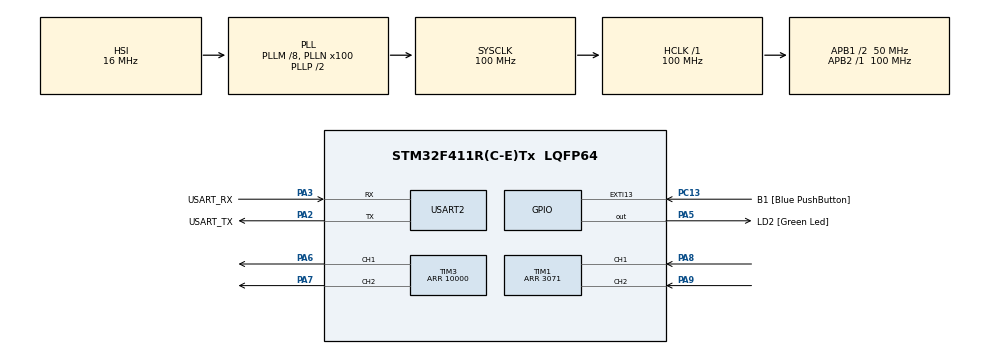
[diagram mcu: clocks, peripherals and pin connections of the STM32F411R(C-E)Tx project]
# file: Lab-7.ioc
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Mcu.Family=STM32F4
Mcu.Name=STM32F411R(C-E)Tx
Mcu.Package=LQFP64
NVIC.PriorityGroup=NVIC_PRIORITYGROUP_0
PA13.GPIO_Label=TMS
PA13.Mode=Serial_Wire
PA13.Signal=SYS_JTMS-SWDIO
PA14.GPIO_Label=TCK
PA14.Mode=Serial_Wire
PA14.Signal=SYS_JTCK-SWCLK
PA2.GPIO_Label=USART_TX
PA2.Mode=Asynchronous
PA2.Signal=USART2_TX
PA3.GPIO_Label=USART_RX
PA3.Mode=Asynchronous
PA3.Signal=USART2_RX
PA5.GPIO_Label=LD2 [Green Led]
PA5.Signal=GPIO_Output
PA6.Signal=S_TIM3_CH1
PA7.Signal=S_TIM3_CH2
PA8.Signal=S_TIM1_CH1
PA9.Signal=S_TIM1_CH2
PB3.GPIO_Label=SWO
PB3.Signal=SYS_JTDO-SWO
PC13-ANTI_TAMP.GPIO_Label=B1 [Blue PushButton]
PC13-ANTI_TAMP.GPIO_ModeDefaultEXTI=GPIO_MODE_IT_FALLING
PC13-ANTI_TAMP.Signal=GPXTI13
PC14-OSC32_IN.Mode=LSE-External-Oscillator
PC14-OSC32_IN.Signal=RCC_OSC32_IN
PC15-OSC32_OUT.Mode=LSE-External-Oscillator
PC15-OSC32_OUT.Signal=RCC_OSC32_OUT
PH0\ -\ OSC_IN.Mode=HSE-External-Clock-Source
PH0\ -\ OSC_IN.Signal=RCC_OSC_IN
PH1\ -\ OSC_OUT.Mode=HSE-External-Clock-Source
PH1\ -\ OSC_OUT.Signal=RCC_OSC_OUT
ProjectManager.HeapSize=0x200
ProjectManager.StackSize=0x400
ProjectManager.TargetToolchain=STM32CubeIDE
RCC.48MHZClocksFreq_Value=50000000
RCC.AHBFreq_Value=100000000
RCC.APB1CLKDivider=RCC_HCLK_DIV2
RCC.APB1Freq_Value=50000000
RCC.APB1TimFreq_Value=100000000
RCC.APB2Freq_Value=100000000
RCC.APB2TimFreq_Value=100000000
RCC.CortexFreq_Value=100000000
RCC.FLatency-AdvancedSettings=FLASH_LATENCY_3
RCC.HCLKFreq_Value=100000000
RCC.HSE_VALUE=8000000
RCC.HSI_VALUE=16000000
RCC.PLLM=8
RCC.PLLN=100
RCC.SYSCLKFreq_VALUE=100000000
RCC.SYSCLKSource=RCC_SYSCLKSOURCE_PLLCLK
RCC.VCOOutputFreq_Value=200000000
SH.S_TIM1_CH1.0=TIM1_CH1,Encoder_Interface
SH.S_TIM1_CH2.0=TIM1_CH2,Encoder_Interface
SH.S_TIM3_CH1.0=TIM3_CH1,PWM Generation1 CH1
SH.S_TIM3_CH2.0=TIM3_CH2,PWM Generation2 CH2
TIM1.EncoderMode=TIM_ENCODERMODE_TI12
TIM1.Period=3071
TIM2.Prescaler=99
TIM3.Channel-PWM\ Generation1\ CH1=TIM_CHANNEL_1
TIM3.Channel-PWM\ Generation2\ CH2=TIM_CHANNEL_2
TIM3.Period=10000
USART2.VirtualMode=VM_ASYNC
VP_TIM2_VS_ClockSourceINT.Mode=Internal
VP_TIM3_VS_ClockSourceINT.Mode=Internal
board=NUCLEO-F411RE

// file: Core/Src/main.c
/* USER CODE BEGIN Header */
/**
 ******************************************************************************
 * @file           : main.c
 * @brief          : Main program body
 ******************************************************************************
 * @attention
 *
 * <h2><center>&copy; Copyright (c) 2021 STMicroelectronics.
 * All rights reserved.</center></h2>
 *
 * This software component is licensed by ST under BSD 3-Clause license,
 * the "License"; You may not use this file except in compliance with the
 * License. You may obtain a copy of the License at:
 *                        opensource.org/licenses/BSD-3-Clause
 *
 ******************************************************************************
 */
/* USER CODE END Header */
#include "main.h"

TIM_HandleTypeDef htim1;
TIM_HandleTypeDef htim2;
TIM_HandleTypeDef htim3;

UART_HandleTypeDef huart2;

/* USER CODE BEGIN PV */
uint64_t _micros 	= 0;
int   PWMOut 		= 0;
float EncoderVel 		= 0;
float Velocity_Motor 	= 0;
float Velocity_Desired 	= 0;
float Velocity_Error  	= 0;
float Velocity_Error_Previous  	= 0;
float Velocity_Error_Sum  		= 0;

uint64_t Timestamp_Encoder = 0;

float K_P	= 0;
float K_I	= 0;
float K_D   = 0;

/* USER CODE END PV */

void SystemClock_Config(void);
static void MX_GPIO_Init(void);
static void MX_USART2_UART_Init(void);
static void MX_TIM1_Init(void);
static void MX_TIM2_Init(void);
static void MX_TIM3_Init(void);
/* USER CODE BEGIN PFP */
uint64_t micros();
float EncoderVelocity_Update();
void PID_Control();
void MotorDrive();

/* USER CODE END PFP */

int main(void)
{

  /* MCU Configuration--------------------------------------------------------*/

  /* Reset of all peripherals, Initializes the Flash interface and the Systick. */
  HAL_Init();

  /* Configure the system clock */
  SystemClock_Config();

  /* Initialize all configured peripherals */
  MX_GPIO_Init();
  MX_USART2_UART_Init();
  MX_TIM1_Init();
  MX_TIM2_Init();
  MX_TIM3_Init();
  /* USER CODE BEGIN 2 */
	HAL_TIM_Base_Start_IT(&htim2);
	HAL_TIM_Encoder_Start(&htim1, TIM_CHANNEL_ALL);
	HAL_TIM_Base_Start(&htim3);
	HAL_TIM_PWM_Start(&htim3, TIM_CHANNEL_1);
	HAL_TIM_PWM_Start(&htim3, TIM_CHANNEL_2);

  /* USER CODE END 2 */

  /* Infinite loop */
	while (1)
	{

    /* USER CODE BEGIN 3 */
		if (micros() - Timestamp_Encoder >= 1000) //1000us = 0.001s = 1kHz
		{
			Timestamp_Encoder = micros();
			EncoderVel = (EncoderVel * 99 + EncoderVelocity_Update()) / 100.0;  //Add LPF? (Low Pass Filter)

			Velocity_Motor = EncoderVel * 60 / 3072.0; //  pulse/s -> RPM   (1/4 * 1/12 * 1/64)

			PID_Control();
			MotorDrive();
		}

	}
  /* USER CODE END 3 */
}

void SystemClock_Config(void)
{
  RCC_OscInitTypeDef RCC_OscInitStruct = {0};
  RCC_ClkInitTypeDef RCC_ClkInitStruct = {0};

  /** Configure the main internal regulator output voltage
  */
  __HAL_RCC_PWR_CLK_ENABLE();
  __HAL_PWR_VOLTAGESCALING_CONFIG(PWR_REGULATOR_VOLTAGE_SCALE1);
  /** Initializes the RCC Oscillators according to the specified parameters
  * in the RCC_OscInitTypeDef structure.
  */
  RCC_OscInitStruct.OscillatorType = RCC_OSCILLATORTYPE_HSI;
  RCC_OscInitStruct.HSIState = RCC_HSI_ON;
  RCC_OscInitStruct.HSICalibrationValue = RCC_HSICALIBRATION_DEFAULT;
  RCC_OscInitStruct.PLL.PLLState = RCC_PLL_ON;
  RCC_OscInitStruct.PLL.PLLSource = RCC_PLLSOURCE_HSI;
  RCC_OscInitStruct.PLL.PLLM = 8;
  RCC_OscInitStruct.PLL.PLLN = 100;
  RCC_OscInitStruct.PLL.PLLP = RCC_PLLP_DIV2;
  RCC_OscInitStruct.PLL.PLLQ = 4;
  if (HAL_RCC_OscConfig(&RCC_OscInitStruct) != HAL_OK)
  {
    Error_Handler();
  }
  /** Initializes the CPU, AHB and APB buses clocks
  */
  RCC_ClkInitStruct.ClockType = RCC_CLOCKTYPE_HCLK|RCC_CLOCKTYPE_SYSCLK
                              |RCC_CLOCKTYPE_PCLK1|RCC_CLOCKTYPE_PCLK2;
  RCC_ClkInitStruct.SYSCLKSource = RCC_SYSCLKSOURCE_PLLCLK;
  RCC_ClkInitStruct.AHBCLKDivider = RCC_SYSCLK_DIV1;
  RCC_ClkInitStruct.APB1CLKDivider = RCC_HCLK_DIV2;
  RCC_ClkInitStruct.APB2CLKDivider = RCC_HCLK_DIV1;

  if (HAL_RCC_ClockConfig(&RCC_ClkInitStruct, FLASH_LATENCY_3) != HAL_OK)
  {
    Error_Handler();
  }
}

static void MX_TIM1_Init(void)
{

  TIM_Encoder_InitTypeDef sConfig = {0};
  TIM_MasterConfigTypeDef sMasterConfig = {0};

  htim1.Instance = TIM1;
  htim1.Init.Prescaler = 0;
  htim1.Init.CounterMode = TIM_COUNTERMODE_UP;
  htim1.Init.Period = 3071;
  htim1.Init.ClockDivision = TIM_CLOCKDIVISION_DIV1;
  htim1.Init.RepetitionCounter = 0;
  htim1.Init.AutoReloadPreload = TIM_AUTORELOAD_PRELOAD_DISABLE;
  sConfig.EncoderMode = TIM_ENCODERMODE_TI12;
  sConfig.IC1Polarity = TIM_ICPOLARITY_RISING;
  sConfig.IC1Selection = TIM_ICSELECTION_DIRECTTI;
  sConfig.IC1Prescaler = TIM_ICPSC_DIV1;
  sConfig.IC1Filter = 0;
  sConfig.IC2Polarity = TIM_ICPOLARITY_RISING;
  sConfig.IC2Selection = TIM_ICSELECTION_DIRECTTI;
  sConfig.IC2Prescaler = TIM_ICPSC_DIV1;
  sConfig.IC2Filter = 0;
  if (HAL_TIM_Encoder_Init(&htim1, &sConfig) != HAL_OK)
  {
    Error_Handler();
  }
  sMasterConfig.MasterOutputTrigger = TIM_TRGO_RESET;
  sMasterConfig.MasterSlaveMode = TIM_MASTERSLAVEMODE_DISABLE;
  if (HAL_TIMEx_MasterConfigSynchronization(&htim1, &sMasterConfig) != HAL_OK)
  {
    Error_Handler();
  }

}

static void MX_TIM2_Init(void)
{

  TIM_ClockConfigTypeDef sClockSourceConfig = {0};
  TIM_MasterConfigTypeDef sMasterConfig = {0};

  htim2.Instance = TIM2;
  htim2.Init.Prescaler = 99;
  htim2.Init.CounterMode = TIM_COUNTERMODE_UP;
  htim2.Init.Period = 4294967295;
  htim2.Init.ClockDivision = TIM_CLOCKDIVISION_DIV1;
  htim2.Init.AutoReloadPreload = TIM_AUTORELOAD_PRELOAD_DISABLE;
  if (HAL_TIM_Base_Init(&htim2) != HAL_OK)
  {
    Error_Handler();
  }
  sClockSourceConfig.ClockSource = TIM_CLOCKSOURCE_INTERNAL;
  if (HAL_TIM_ConfigClockSource(&htim2, &sClockSourceConfig) != HAL_OK)
  {
    Error_Handler();
  }
  sMasterConfig.MasterOutputTrigger = TIM_TRGO_RESET;
  sMasterConfig.MasterSlaveMode = TIM_MASTERSLAVEMODE_DISABLE;
  if (HAL_TIMEx_MasterConfigSynchronization(&htim2, &sMasterConfig) != HAL_OK)
  {
    Error_Handler();
  }

}

static void MX_TIM3_Init(void)
{

  TIM_ClockConfigTypeDef sClockSourceConfig = {0};
  TIM_MasterConfigTypeDef sMasterConfig = {0};
  TIM_OC_InitTypeDef sConfigOC = {0};

  htim3.Instance = TIM3;
  htim3.Init.Prescaler = 0;
  htim3.Init.CounterMode = TIM_COUNTERMODE_UP;
  htim3.Init.Period = 10000;
  htim3.Init.ClockDivision = TIM_CLOCKDIVISION_DIV1;
  htim3.Init.AutoReloadPreload = TIM_AUTORELOAD_PRELOAD_DISABLE;
  if (HAL_TIM_Base_Init(&htim3) != HAL_OK)
  {
    Error_Handler();
  }
  sClockSourceConfig.ClockSource = TIM_CLOCKSOURCE_INTERNAL;
  if (HAL_TIM_ConfigClockSource(&htim3, &sClockSourceConfig) != HAL_OK)
  {
    Error_Handler();
  }
  if (HAL_TIM_PWM_Init(&htim3) != HAL_OK)
  {
    Error_Handler();
  }
  sMasterConfig.MasterOutputTrigger = TIM_TRGO_RESET;
  sMasterConfig.MasterSlaveMode = TIM_MASTERSLAVEMODE_DISABLE;
  if (HAL_TIMEx_MasterConfigSynchronization(&htim3, &sMasterConfig) != HAL_OK)
  {
    Error_Handler();
  }
  sConfigOC.OCMode = TIM_OCMODE_PWM1;
  sConfigOC.Pulse = 0;
  sConfigOC.OCPolarity = TIM_OCPOLARITY_HIGH;
  sConfigOC.OCFastMode = TIM_OCFAST_DISABLE;
  if (HAL_TIM_PWM_ConfigChannel(&htim3, &sConfigOC, TIM_CHANNEL_1) != HAL_OK)
  {
    Error_Handler();
  }
  if (HAL_TIM_PWM_ConfigChannel(&htim3, &sConfigOC, TIM_CHANNEL_2) != HAL_OK)
  {
    Error_Handler();
  }
  HAL_TIM_MspPostInit(&htim3);

}

static void MX_USART2_UART_Init(void)
{

  huart2.Instance = USART2;
  huart2.Init.BaudRate = 115200;
  huart2.Init.WordLength = UART_WORDLENGTH_8B;
  huart2.Init.StopBits = UART_STOPBITS_1;
  huart2.Init.Parity = UART_PARITY_NONE;
  huart2.Init.Mode = UART_MODE_TX_RX;
  huart2.Init.HwFlowCtl = UART_HWCONTROL_NONE;
  huart2.Init.OverSampling = UART_OVERSAMPLING_16;
  if (HAL_UART_Init(&huart2) != HAL_OK)
  {
    Error_Handler();
  }

}

static void MX_GPIO_Init(void)
{
  GPIO_InitTypeDef GPIO_InitStruct = {0};

  /* GPIO Ports Clock Enable */
  __HAL_RCC_GPIOC_CLK_ENABLE();
  __HAL_RCC_GPIOH_CLK_ENABLE();
  __HAL_RCC_GPIOA_CLK_ENABLE();
  __HAL_RCC_GPIOB_CLK_ENABLE();

  /*Configure GPIO pin Output Level */
  HAL_GPIO_WritePin(LD2_GPIO_Port, LD2_Pin, GPIO_PIN_RESET);

  /*Configure GPIO pin : B1_Pin */
  GPIO_InitStruct.Pin = B1_Pin;
  GPIO_InitStruct.Mode = GPIO_MODE_IT_FALLING;
  GPIO_InitStruct.Pull = GPIO_NOPULL;
  HAL_GPIO_Init(B1_GPIO_Port, &GPIO_InitStruct);

  /*Configure GPIO pin : LD2_Pin */
  GPIO_InitStruct.Pin = LD2_Pin;
  GPIO_InitStruct.Mode = GPIO_MODE_OUTPUT_PP;
  GPIO_InitStruct.Pull = GPIO_NOPULL;
  GPIO_InitStruct.Speed = GPIO_SPEED_FREQ_LOW;
  HAL_GPIO_Init(LD2_GPIO_Port, &GPIO_InitStruct);

}

/* USER CODE BEGIN 4 */
#define  HTIM_ENCODER htim1
#define  MAX_SUBPOSITION_OVERFLOW 1536
#define  MAX_ENCODER_PERIOD 3072

float EncoderVelocity_Update()
{
	//Save Last state
	static uint32_t EncoderLastPosition = 0;
	static uint64_t EncoderLastTimestamp = 0;

	//read data
	uint32_t EncoderNowPosition = HTIM_ENCODER.Instance->CNT;
	uint64_t EncoderNowTimestamp = micros();

	int32_t EncoderPositionDiff;
	uint64_t EncoderTimeDiff;

	EncoderTimeDiff = EncoderNowTimestamp - EncoderLastTimestamp;   //dt
	EncoderPositionDiff = EncoderNowPosition - EncoderLastPosition; //dp

	//compensate overflow and underflow
	if (EncoderPositionDiff >= MAX_SUBPOSITION_OVERFLOW)
	{
		EncoderPositionDiff -= MAX_ENCODER_PERIOD;
	}
	else if (-EncoderPositionDiff >= MAX_SUBPOSITION_OVERFLOW)
	{
		EncoderPositionDiff += MAX_ENCODER_PERIOD;
	}

	//Update Position and time
	EncoderLastPosition = EncoderNowPosition;
	EncoderLastTimestamp = EncoderNowTimestamp;

	//Calculate velocity
	//EncoderTimeDiff is in uS
	return (EncoderPositionDiff * 1000000) / (float) EncoderTimeDiff;

}

void HAL_TIM_PeriodElapsedCallback(TIM_HandleTypeDef *htim)
{
	if (htim == &htim2)
	{
		_micros += 4294967295;
	}
}
uint64_t micros()
{
	return _micros + htim2.Instance->CNT;
}

void PID_Control()
{
	Velocity_Error = Velocity_Desired - Velocity_Motor;

	float dt = 0.001;
	float derivative = (Velocity_Error - Velocity_Error_Previous)/dt;
	Velocity_Error_Sum += (Velocity_Error * dt);

	PWMOut = (K_P * Velocity_Error) + (K_I * Velocity_Error_Sum) + (K_D * derivative);

	Velocity_Error_Previous = Velocity_Error;
}

void MotorDrive()
{
	if(PWMOut >= 0)
	{
		__HAL_TIM_SET_COMPARE(&htim3, TIM_CHANNEL_1, PWMOut);
		__HAL_TIM_SET_COMPARE(&htim3, TIM_CHANNEL_2, 0);
	}
	else
	{
		__HAL_TIM_SET_COMPARE(&htim3, TIM_CHANNEL_1, 0);
		__HAL_TIM_SET_COMPARE(&htim3, TIM_CHANNEL_2, -PWMOut);
	}
}
/* USER CODE END 4 */

void Error_Handler(void)
{
	__disable_irq();
	while (1)
	{
	}
}

/************************ (C) COPYRIGHT STMicroelectronics *****END OF FILE****/
